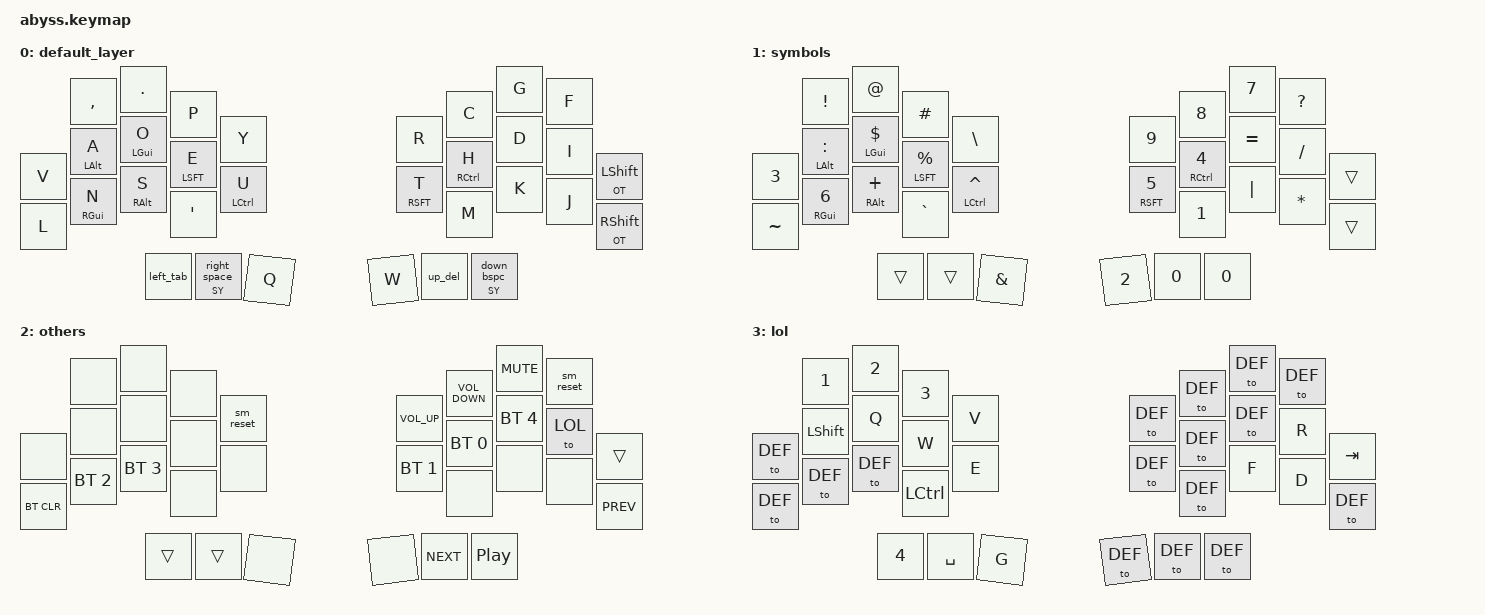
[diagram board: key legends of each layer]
#include <behaviors.dtsi>
#include <dt-bindings/zmk/keys.h>
#include <dt-bindings/zmk/bt.h>

#define DEF 0
#define SY 1
#define OT 2
#define LOL 3

#define KEYL 0 1 2 3 \
             8 9 10 11 12 \
             18 19 20 21 \
             26 27 28 29 30 31
#define KEYR 4 5 6 7 \
             13 14 15 16 17 \
             22 23 24 25 \
             26 27 28 29 30 31

#define VOLDWN C_VOLUME_DOWN
#define VOLUP C_VOLUME_UP

#define TAPPING_TERM 280
#define QUICK_TAP 150
#define ALPHA_COMBO_REQUIRE_DELAY 100
#define COMBO_REQUIRE_DELAY 150

&sk {
    quick-release;
    /delete-property/ ignore-modifiers;
};

/ {
    behaviors {
        hml: homerow_mods_left {
            compatible = "zmk,behavior-hold-tap";
            flavor = "balanced";
            tapping-term-ms = <TAPPING_TERM>;
            quick-tap-ms = <QUICK_TAP>;
            // maybe a bit lower than ALPHA_COMBO idk
            require-prior-idle-ms = <ALPHA_COMBO_REQUIRE_DELAY>;
            bindings = <&kp>, <&kp>;
            #binding-cells = <2>;
            hold-trigger-key-positions = <KEYR>;
            hold-trigger-on-release;
        };
        hmr: homerow_mods_right {
            compatible = "zmk,behavior-hold-tap";
            flavor = "balanced";
            tapping-term-ms = <TAPPING_TERM>;
            quick-tap-ms = <QUICK_TAP>;
            require-prior-idle-ms = <ALPHA_COMBO_REQUIRE_DELAY>;
            bindings = <&kp>, <&kp>;
            #binding-cells = <2>;
            hold-trigger-key-positions = <KEYL>;
            hold-trigger-on-release;
        };

        left_tab: left_shift_morph {
            compatible = "zmk,behavior-mod-morph";
            #binding-cells = <0>;
            bindings = <&kp TAB>, <&kp LEFT>;
            mods = <(MOD_LSFT|MOD_RSFT)>;
            keep-mods = <(MOD_LSFT)>;
        };
        right_space: right_space_morph {
            compatible = "zmk,behavior-mod-morph";
            #binding-cells = <0>;
            bindings = <&kp SPACE>, <&kp RIGHT>;
            mods = <(MOD_LSFT|MOD_RSFT)>;
            keep-mods = <(MOD_LSFT)>;
        };
        down_bspc: down_dspc_morph {
            compatible = "zmk,behavior-mod-morph";
            #binding-cells = <0>;
            bindings = <&kp BSPC>, <&kp DOWN>;
            mods = <(MOD_LSFT|MOD_RSFT)>;
            keep-mods = <(MOD_RSFT)>;
        };
        up_del: up_del_morph {
            compatible = "zmk,behavior-mod-morph";
            #binding-cells = <0>;
            bindings = <&kp DEL>, <&kp UP>;
            mods = <(MOD_LSFT|MOD_RSFT)>;
            keep-mods = <(MOD_RSFT)>;
        };

        lt_spc: layer_tap_spc {
            compatible = "zmk,behavior-hold-tap";
            flavor = "balanced";
            #binding-cells = <2>;
            bindings = <&mo>, <&right_space>;
            tapping-term-ms = <TAPPING_TERM>;
            quick-tap-ms = <QUICK_TAP>;
            hold-trigger-key-positions = <KEYR>;
            hold-trigger-on-release;
        };
        lt_bspc: layer_tap_bspc {
            compatible = "zmk,behavior-hold-tap";
            flavor = "balanced";
            #binding-cells = <2>;
            bindings = <&mo>, <&down_bspc>;
            tapping-term-ms = <TAPPING_TERM>;
            quick-tap-ms = <QUICK_TAP>;
            hold-trigger-key-positions = <KEYL>;
            hold-trigger-on-release;
        };

        ltsk: layer_tap_cap {
            compatible = "zmk,behavior-hold-tap";
            flavor = "balanced";
            #binding-cells = <2>;
            bindings = <&mo>, <&sk>;
            tapping-term-ms = <TAPPING_TERM>;
            quick-tap-ms = <QUICK_TAP>;
        };

        capslock_word: cplkwrd {
            compatible = "zmk,behavior-capslock";
            #binding-cells = <0>;
            capslock-press-duration = <95>;
            capslock-press-keycode = <LS(CAPSLOCK)>;
            enable-on-press;
            disable-on-next-release;
            disable-on-keys = <SPACE TAB ENTER>;
            display-name = "Capslock word";
        };

        sm_reset: tap_dance_rst {
            compatible = "zmk,behavior-tap-dance";
            #binding-cells = <0>;
            tapping-term-ms = <TAPPING_TERM>;
            bindings = <&sys_reset>, <&bootloader>;
        };
    };

    keymap {
        compatible = "zmk,keymap";

        default_layer {
            bindings = <
//              ╭─────────────┬─────────────┬─────────────┬────────────────╮  ╭─────────────────┬───────────────┬─────────────┬─────────────╮
                  &kp COMMA     &kp DOT       &kp P         &kp Y               &kp F             &kp G           &kp C         &kp R
//╭─────────────┼─────────────┼─────────────┼─────────────┼────────────────┤  ├─────────────────┼───────────────┼─────────────┼─────────────┼─────────────╮
    &hml LALT A   &hml LGUI O   &hml LSFT E   &hml LCTL U   &kp I               &kp D             &hmr RCTL H     &hmr RSFT T   &hmr RGUI N   &hmr RALT S
//├─────────────┼─────────────┼─────────────┼─────────────┼────────────────╯  ╰─────────────────┼───────────────┼─────────────┼─────────────┼─────────────┤
    &kp SQT       &kp Q         &kp J         &kp K                                               &kp M           &kp W         &kp V         &kp L
//╰───────────────────────────┼─────────────┼─────────────┼────────────────╮  ╭─────────────────┼───────────────┼─────────────┼───────────────────────────╯
                                &left_tab     &lt_spc SY 0  &ltsk OT LSHIFT     &ltsk OT RSHIFT   &lt_bspc SY 0   &up_del
//                            ╰─────────────┴─────────────┴────────────────╯  ╰─────────────────┴───────────────┴─────────────╯
            >;
        };

        symbols {
            bindings = <
//                  ╭───────────────┬────────────────┬────────────────┬─────────────╮  ╭─────────────┬─────────────┬─────────────┬─────────────╮
                      &kp EXCL        &kp AT           &kp HASH         &kp BSLH         &kp QMARK     &kp N7        &kp N8        &kp N9
//╭─────────────────┼───────────────┼────────────────┼────────────────┼─────────────┤  ├─────────────┼─────────────┼─────────────┼─────────────┼────────────────╮
    &hml LALT COLON   &hml LGUI DLLR  &hml LSFT PRCNT  &hml LCTL CARET  &kp FSLH         &kp EQUAL     &hmr RCTL N4  &hmr RSFT N5  &hmr RGUI N6  &hmr RALT PLUS
//├─────────────────┼───────────────┼────────────────┼────────────────┼─────────────╯  ╰─────────────┼─────────────┼─────────────┼─────────────┼────────────────┤
    &kp GRAVE         &kp AMPS        &kp STAR         &kp PIPE                                        &kp N1        &kp N2        &kp N3        &kp TILDE
//╰─────────────────────────────────┼────────────────┼────────────────┼─────────────╮  ╭─────────────┼─────────────┼─────────────┼──────────────────────────────╯
                                     &trans           &trans           &trans           &trans        &kp N0        &kp N0
//                                  ╰────────────────┴────────────────┴─────────────╯  ╰─────────────┴─────────────┴─────────────╯
            >;
        };

        others {
            bindings = <
//                  ╭───────────────┬────────────────┬────────────────┬─────────────╮  ╭─────────────┬─────────────┬─────────────┬─────────────╮
                      &none           &none            &none            &sm_reset        &sm_reset     &kp C_MUTE    &kp VOLDWN    &kp VOLUP
//╭─────────────────┼───────────────┼────────────────┼────────────────┼─────────────┤  ├─────────────┼─────────────┼─────────────┼─────────────┼────────────────╮
    &none             &none           &none            &none            &to LOL          &bt BT_SEL 4  &bt BT_SEL 0  &bt BT_SEL 1  &bt BT_SEL 2  &bt BT_SEL 3
//├─────────────────┼───────────────┼────────────────┼────────────────┼─────────────╯  ╰─────────────┼─────────────┼─────────────┼─────────────┼────────────────┤
    &none             &none           &none            &none                                           &none         &none         &none         &bt BT_CLR
//╰─────────────────────────────────┼────────────────┼────────────────┼─────────────╮  ╭─────────────┼─────────────┼─────────────┼──────────────────────────────╯
                                      &trans           &trans           &trans           &kp C_PREV    &kp C_PP      &kp C_NEXT
//                                  ╰────────────────┴────────────────┴─────────────╯  ╰─────────────┴─────────────┴─────────────╯
            >;
        };

        lol {
            bindings = <
//                  ╭───────────────┬────────────────┬────────────────┬─────────────╮  ╭─────────────┬─────────────┬─────────────┬─────────────╮
                      &kp N1          &kp N2           &kp N3           &kp V            &to DEF       &to DEF       &to DEF       &to DEF
//╭─────────────────┼───────────────┼────────────────┼────────────────┼─────────────┤  ├─────────────┼─────────────┼─────────────┼─────────────┼────────────────╮
    &kp LSHIFT        &kp Q           &kp W            &kp E            &kp R            &to DEF       &to DEF       &to DEF       &to DEF       &to DEF
//├─────────────────┼───────────────┼────────────────┼────────────────┼─────────────╯  ╰─────────────┼─────────────┼─────────────┼─────────────┼────────────────┤
    &kp LCTRL         &kp G           &kp D            &kp F                                           &to DEF       &to DEF       &to DEF       &to DEF
//╰─────────────────────────────────┼────────────────┼────────────────┼─────────────╮  ╭─────────────┼─────────────┼─────────────┼──────────────────────────────╯
                                      &kp N4           &kp SPACE        &kp TAB          &to DEF       &to DEF       &to DEF
//                                  ╰────────────────┴────────────────┴─────────────╯  ╰─────────────┴─────────────┴─────────────╯
            >;
        };
    };

    combos {
        compatible = "zmk,combos";
        combo_semi {
            // pressing both , and . does ;
            key-positions = <0 1>;
            bindings = <&kp SEMI>;
            timeout-ms = <20>;
            require-prior-idle-ms = <COMBO_REQUIRE_DELAY>;
            layers = <0>;
        };
        combo_x {
            // pressing both . and p does x
            key-positions = <1 2>;
            bindings = <&kp X>;
            timeout-ms = <20>;
            require-prior-idle-ms = <ALPHA_COMBO_REQUIRE_DELAY>;
            layers = <0>;
        };
        combo_b {
            // pressing both c and r does b
            key-positions = <6 7>;
            bindings = <&kp B>;
            timeout-ms = <20>;
            require-prior-idle-ms = <ALPHA_COMBO_REQUIRE_DELAY>;
            layers = <0>;
        };
        combo_z {
            // pressing both g and c does z
            key-positions = <5 6>;
            bindings = <&kp Z>;
            timeout-ms = <20>;
            require-prior-idle-ms = <ALPHA_COMBO_REQUIRE_DELAY>;
            layers = <0>;
        };

        combo_home {
            // pressing both oeu does home
            key-positions = <9 10 11>;
            bindings = <&kp HOME>;
            timeout-ms = <20>;
            require-prior-idle-ms = <COMBO_REQUIRE_DELAY>;
            layers = <0>;
        };
        combo_end {
            // pressing both htn does end
            key-positions = <14 15 16>;
            bindings = <&kp END>;
            timeout-ms = <20>;
            require-prior-idle-ms = <COMBO_REQUIRE_DELAY>;
            layers = <0>;
        };

        combo_lbkt {
            // pressing .e does [
            key-positions = <1 10>;
            bindings = <&kp LBKT>;
            timeout-ms = <20>;
            require-prior-idle-ms = <COMBO_REQUIRE_DELAY>;
            layers = <0>;
        };
        combo_rbkt {
            // pressing ct does ]
            key-positions = <6 15>;
            bindings = <&kp RBKT>;
            timeout-ms = <20>;
            require-prior-idle-ms = <COMBO_REQUIRE_DELAY>;
            layers = <0>;
        };
        combo_lpar {
            // pressing pu does (
            key-positions = <2 11>;
            bindings = <&kp LPAR>;
            timeout-ms = <20>;
            require-prior-idle-ms = <COMBO_REQUIRE_DELAY>;
            layers = <0>;
        };
        combo_rpar {
            // pressing gh does )
            key-positions = <5 14>;
            bindings = <&kp RPAR>;
            timeout-ms = <20>;
            require-prior-idle-ms = <COMBO_REQUIRE_DELAY>;
            layers = <0>;
        };
        combo_lbrc {
            // pressing yi does {
            key-positions = <3 12>;
            bindings = <&kp LBRC>;
            timeout-ms = <20>;
            require-prior-idle-ms = <COMBO_REQUIRE_DELAY>;
            layers = <0>;
        };
        combo_rbrc {
            // pressing fd does }
            key-positions = <4 13>;
            bindings = <&kp RBRC>;
            timeout-ms = <20>;
            require-prior-idle-ms = <COMBO_REQUIRE_DELAY>;
            layers = <0>;
        };

        combo_dash {
            // pressing jk does -
            key-positions = <20 21>;
            bindings = <&kp MINUS>;
            timeout-ms = <20>;
            require-prior-idle-ms = <COMBO_REQUIRE_DELAY>;
            layers = <0>;
        };
        combo_under {
            // pressing mw does _
            key-positions = <22 23>;
            bindings = <&kp UNDERSCORE>;
            timeout-ms = <20>;
            require-prior-idle-ms = <COMBO_REQUIRE_DELAY>;
            layers = <0>;
        };

        combo_esc {
            // pressing e & SPC does esc
            key-positions = <10 27>;
            bindings = <&kp ESC>;
            timeout-ms = <20>;
            require-prior-idle-ms = <COMBO_REQUIRE_DELAY>;
            layers = <0>;
        };
        combo_enter {
            // pressing e & BSP does enter
            key-positions = <15 30>;
            bindings = <&kp ENTER>;
            timeout-ms = <20>;
            require-prior-idle-ms = <COMBO_REQUIRE_DELAY>;
            layers = <0>;
        };

        combo_capsword {
            // pressing the two one tap shift does capsword
            key-positions = <28 29>;
            bindings = <&capslock_word>;
            timeout-ms = <20>;
            require-prior-idle-ms = <COMBO_REQUIRE_DELAY>;
            layers = <0>;
        };
    };
};

// vim: ft=dts
